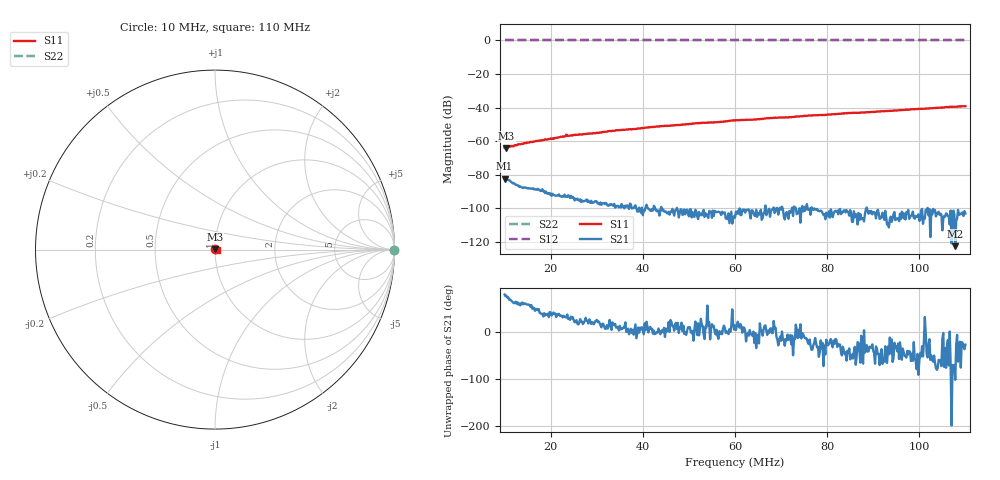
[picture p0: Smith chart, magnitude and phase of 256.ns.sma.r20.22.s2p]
! Anritsu VNA Master:  Model: MS2036C/10/77
! SN:  1601066
! /card0/usr/256.ns.sma.r20.22.s2p
! Existing Calibration Information:
! TYPE:  Current Settings,  Active Cal Settings
! TIME:  12/19/2017 03:52:11 PM,  12/19/2017 03:30:41 PM
! INTERNAL TEMP:  47.3 C,  48.0 C
! # POINTS:  501,  501
! START FREQ:  10.000 MHz,  10.000 MHz
! STOP FREQ:  110.000 MHz,  110.000 MHz
! SOURCE POWER:  High,  High
! IFBW:  100 Hz,  100 Hz
! AVG FACTOR:  1 ,  1
! REF PLANE 1:  0 mm,  0 mm
! REF PLANE 2:  0 mm,  0 mm
! CAL TYPE:  Full S11,  Full S11
! CAL METHOD:  SOLT,  SOLT
! CAL LINE TYPE:  Coax,  Coax
! DUT PORT 1:  N-Conn(F),  N-Conn(F)
! DUT PORT 2:  K-Conn(F),  K-Conn(F)
! CAL STATUS:  OK: Accuracy High,  --
# GHZ S DB R 50.0
! FREQ.GHZ  S11DB  S11A  S21DB  S21A  S12DB  S12A  S22DB  S22A
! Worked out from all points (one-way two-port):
!   501 points, 10 MHz to 110 MHz, reference 50 ohm
!   highest |S21| = -82.27 dB at 10 MHz (marker M1); lowest = -122.5 dB at 107.8 MHz (marker M2)
!   lowest |S11| = -64.1 dB at 10.4 MHz (marker M3), VSWR 1.00, Z = 50 + j0.062 ohm
!   |S11| at or under -10 dB: start of sweep to end of sweep
!   |S22| runs from 0.0 to 0.0 dB; largest |S21 - S12| = 1
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0.01  -63.76 89.7  -82.27 78.8  0.00 0.0  0.00 0.0
0.0104  -64.14 91.9  -82.62 76.4  0.00 0.0  0.00 0.0
0.0146  -61.17 82.7  -87.62 59.5  0.00 0.0  0.00 0.0
0.0206  -58.63 74.9  -91.88 40.4  0.00 0.0  0.00 0.0
0.0234  -56.03 71.6  -92.96 30.0  0.00 0.0  0.00 0.0
0.0268  -55.96 68.4  -95.22 21.3  0.00 0.0  0.00 0.0
0.0306  -54.78 65.0  -97.60 18.7  0.00 0.0  0.00 0.0
0.0346  -53.52 62.0  -98.43 10.2  0.00 0.0  0.00 0.0
0.038  -52.74 58.4  -99.85 -6.4  0.00 0.0  0.00 0.0
0.0434  -51.18 54.3  -101.39 6.4  0.00 0.0  0.00 0.0
0.0528  -49.09 45.6  -104.09 12.9  0.00 0.0  0.00 0.0
0.0564  -48.56 43.0  -101.94 -15.4  0.00 0.0  0.00 0.0
0.06  -47.51 38.8  -105.54 13.3  0.00 0.0  0.00 0.0
0.064  -47.11 36.1  -102.70 -0.2  0.00 0.0  0.00 0.0
0.0674  -46.32 33.0  -100.20 -2.8  0.00 0.0  0.00 0.0
0.0718  -45.58 28.8  -101.51 -11.4  0.00 0.0  0.00 0.0
0.0768  -44.58 24.1  -100.10 -38.4  0.00 0.0  0.00 0.0
0.0794  -44.38 21.9  -103.38 -29.8  0.00 0.0  0.00 0.0
0.0846  -43.24 16.9  -102.36 -45.2  0.00 0.0  0.00 0.0
0.0934  -41.91 8.6  -111.29 -48.2  0.00 0.0  0.00 0.0
0.1078  -39.41 -7.2  -122.45 -102.7  0.00 0.0  0.00 0.0
0.11  -39.10 -9.8  -103.01 -27.9  0.00 0.0  0.00 0.0
